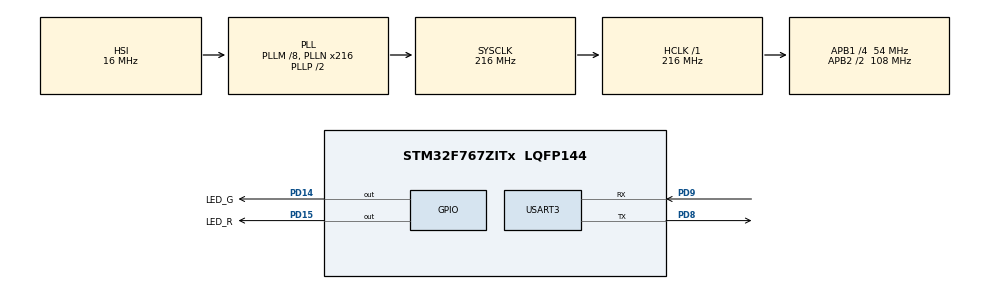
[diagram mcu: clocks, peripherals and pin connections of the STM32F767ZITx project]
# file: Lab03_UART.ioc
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CORTEX_M7.ART_ACCLERATOR_ENABLE=0
CORTEX_M7.CPU_DCache=Disabled
CORTEX_M7.CPU_ICache=Disabled
CORTEX_M7.FlashInterface=AXI_Enabled
CORTEX_M7.MPU_Control=__NULL
CORTEX_M7.PREFETCH_ENABLE=0
Mcu.Family=STM32F7
Mcu.Name=STM32F767ZITx
Mcu.Package=LQFP144
NVIC.PriorityGroup=NVIC_PRIORITYGROUP_4
PD14.GPIO_Label=LED_G
PD14.PinState=GPIO_PIN_SET
PD14.Signal=GPIO_Output
PD15.GPIO_Label=LED_R
PD15.PinState=GPIO_PIN_SET
PD15.Signal=GPIO_Output
PD8.Mode=Asynchronous
PD8.Signal=USART3_TX
PD9.Mode=Asynchronous
PD9.Signal=USART3_RX
ProjectManager.HeapSize=0x200
ProjectManager.StackSize=0x400
ProjectManager.TargetToolchain=MDK-ARM V5.27
RCC.AHBFreq_Value=216000000
RCC.APB1CLKDivider=RCC_HCLK_DIV4
RCC.APB1Freq_Value=54000000
RCC.APB1TimFreq_Value=108000000
RCC.APB2CLKDivider=RCC_HCLK_DIV2
RCC.APB2Freq_Value=108000000
RCC.APB2TimFreq_Value=216000000
RCC.CortexFreq_Value=216000000
RCC.FLatency=FLASH_LATENCY_7
RCC.HCLKFreq_Value=216000000
RCC.HSE_VALUE=25000000
RCC.HSI_VALUE=16000000
RCC.LSE_VALUE=32768
RCC.PLLM=8
RCC.PLLN=216
RCC.PWREXT_OverDrive=PWREXT_OverDrive_ACTIVATED
RCC.PWR_Regulator_Voltage_Scale=PWR_REGULATOR_VOLTAGE_SCALE1
RCC.SYSCLKFreq_VALUE=216000000
RCC.SYSCLKSource=RCC_SYSCLKSOURCE_PLLCLK
RCC.USBFreq_Value=216000000
RCC.VCOOutputFreq_Value=432000000
USART3.VirtualMode-Asynchronous=VM_ASYNC
board=custom

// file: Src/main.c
/* USER CODE BEGIN Header */
/**
  ******************************************************************************
  * @file           : main.c
  * @brief          : Main program body
  ******************************************************************************
  * @attention
  *
  * <h2><center>&copy; Copyright (c) 2020 STMicroelectronics.
  * All rights reserved.</center></h2>
  *
  * This software component is licensed by ST under BSD 3-Clause license,
  * the "License"; You may not use this file except in compliance with the
  * License. You may obtain a copy of the License at:
  *                        opensource.org/licenses/BSD-3-Clause
  *
  ******************************************************************************
  */
/* USER CODE END Header */
#include "main.h"
#include "usart.h"
#include "gpio.h"

/* USER CODE BEGIN Includes */
#include "string.h"
/* USER CODE END Includes */

/* USER CODE BEGIN PD */

/* --------------------- Change question to compile here ---------------------*/
/* ---------------------- Available question 1, 2, 3 and 4 ----------------------*/
#define QUESTION 4

/* USER CODE END PD */

void SystemClock_Config(void);

int main(void)
{

  /* MCU Configuration--------------------------------------------------------*/

  /* Reset of all peripherals, Initializes the Flash interface and the Systick. */
  HAL_Init();

  /* Configure the system clock */
  SystemClock_Config();

  /* Initialize all configured peripherals */
  MX_GPIO_Init();
  MX_USART3_UART_Init();
  /* USER CODE BEGIN 2 */
#if QUESTION == 4
	char welcome[] = "\r\n\
Display Blinking LED PRESS (r, g)\r\n\
Display Group Members PRESS m\r\n\
Quit PRESS q";

	HAL_UART_Transmit(&huart3, (uint8_t*) welcome, strlen(welcome), 1000);
#endif
  /* USER CODE END 2 */

  /* Infinite loop */
  while (1)
  {

    /* USER CODE BEGIN 3 */
#if QUESTION == 1 || QUESTION == 3 || QUESTION == 4
	#if QUESTION == 1
		char str[] = "Hello, World!!\n\r";
	#elif QUESTION == 3
		char str[] = "\n\rInput => ";
	#elif QUESTION == 4
		char str[] = "\n\r\tInput => ";
	#endif
		// print string before rx and/or tx char
		while (__HAL_UART_GET_FLAG(&huart3, UART_FLAG_TC) == RESET);
		HAL_UART_Transmit(&huart3, (uint8_t*) str, strlen(str), 1000);
#endif

#if QUESTION == 2 || QUESTION == 3 || QUESTION == 4
		char ch1 = 'A';

	#if QUESTION == 3 || QUESTION == 4
		// rx char
		while (__HAL_UART_GET_FLAG(&huart3, UART_FLAG_RXNE)== RESET); // wait for RX
		HAL_UART_Receive(&huart3, (uint8_t*) &ch1, 1, 1000);
	#endif

		// print char
		HAL_UART_Transmit(&huart3, (uint8_t*) &ch1, sizeof(ch1), 1000);
#endif

#if QUESTION == 1 || QUESTION == 2
		HAL_Delay(500);
#endif

#if QUESTION == 3 || QUESTION == 4
		if (ch1 == 'q') {
			char str[] = "\n\rQUIT";
			HAL_UART_Transmit(&huart3, (uint8_t*) str, strlen(str), 1000);
			break;
		}
	#if QUESTION == 4
		else if (ch1 == 'r') {
			for (int i = 0; i < 3; i++) {
				HAL_GPIO_WritePin(LED_R_GPIO_Port, LED_R_Pin, GPIO_PIN_RESET);
				HAL_Delay(300);
				HAL_GPIO_WritePin(LED_R_GPIO_Port, LED_R_Pin, GPIO_PIN_SET);
				HAL_Delay(300);
			}
		} else if (ch1 == 'g') {
			for (int i = 0; i < 3; i++) {
				HAL_GPIO_WritePin(LED_G_GPIO_Port, LED_G_Pin, GPIO_PIN_RESET);
				HAL_Delay(300);
				HAL_GPIO_WritePin(LED_G_GPIO_Port, LED_G_Pin, GPIO_PIN_SET);
				HAL_Delay(300);
			}
		} else if (ch1 == 'm') {
			char str[] = "\n\r61010827\n\rPhumphathai Chansriwong";
			HAL_UART_Transmit(&huart3, (uint8_t*) str, strlen(str), 1000);
		} else {
			char str[] = "\n\rUnknown Command";
			HAL_UART_Transmit(&huart3, (uint8_t*) str, strlen(str), 1000);
		}
	#endif
#endif
  }
  /* USER CODE END 3 */
}

void SystemClock_Config(void)
{
  RCC_OscInitTypeDef RCC_OscInitStruct = {0};
  RCC_ClkInitTypeDef RCC_ClkInitStruct = {0};
  RCC_PeriphCLKInitTypeDef PeriphClkInitStruct = {0};

  /** Configure the main internal regulator output voltage
  */
  __HAL_RCC_PWR_CLK_ENABLE();
  __HAL_PWR_VOLTAGESCALING_CONFIG(PWR_REGULATOR_VOLTAGE_SCALE1);
  /** Initializes the RCC Oscillators according to the specified parameters
  * in the RCC_OscInitTypeDef structure.
  */
  RCC_OscInitStruct.OscillatorType = RCC_OSCILLATORTYPE_HSI;
  RCC_OscInitStruct.HSIState = RCC_HSI_ON;
  RCC_OscInitStruct.HSICalibrationValue = RCC_HSICALIBRATION_DEFAULT;
  RCC_OscInitStruct.PLL.PLLState = RCC_PLL_ON;
  RCC_OscInitStruct.PLL.PLLSource = RCC_PLLSOURCE_HSI;
  RCC_OscInitStruct.PLL.PLLM = 8;
  RCC_OscInitStruct.PLL.PLLN = 216;
  RCC_OscInitStruct.PLL.PLLP = RCC_PLLP_DIV2;
  RCC_OscInitStruct.PLL.PLLQ = 2;
  if (HAL_RCC_OscConfig(&RCC_OscInitStruct) != HAL_OK)
  {
    Error_Handler();
  }
  /** Activate the Over-Drive mode
  */
  if (HAL_PWREx_EnableOverDrive() != HAL_OK)
  {
    Error_Handler();
  }
  /** Initializes the CPU, AHB and APB buses clocks
  */
  RCC_ClkInitStruct.ClockType = RCC_CLOCKTYPE_HCLK|RCC_CLOCKTYPE_SYSCLK
                              |RCC_CLOCKTYPE_PCLK1|RCC_CLOCKTYPE_PCLK2;
  RCC_ClkInitStruct.SYSCLKSource = RCC_SYSCLKSOURCE_PLLCLK;
  RCC_ClkInitStruct.AHBCLKDivider = RCC_SYSCLK_DIV1;
  RCC_ClkInitStruct.APB1CLKDivider = RCC_HCLK_DIV4;
  RCC_ClkInitStruct.APB2CLKDivider = RCC_HCLK_DIV2;

  if (HAL_RCC_ClockConfig(&RCC_ClkInitStruct, FLASH_LATENCY_7) != HAL_OK)
  {
    Error_Handler();
  }
  PeriphClkInitStruct.PeriphClockSelection = RCC_PERIPHCLK_USART3;
  PeriphClkInitStruct.Usart3ClockSelection = RCC_USART3CLKSOURCE_PCLK1;
  if (HAL_RCCEx_PeriphCLKConfig(&PeriphClkInitStruct) != HAL_OK)
  {
    Error_Handler();
  }
}

void Error_Handler(void)
{
}

/************************ (C) COPYRIGHT STMicroelectronics *****END OF FILE****/
